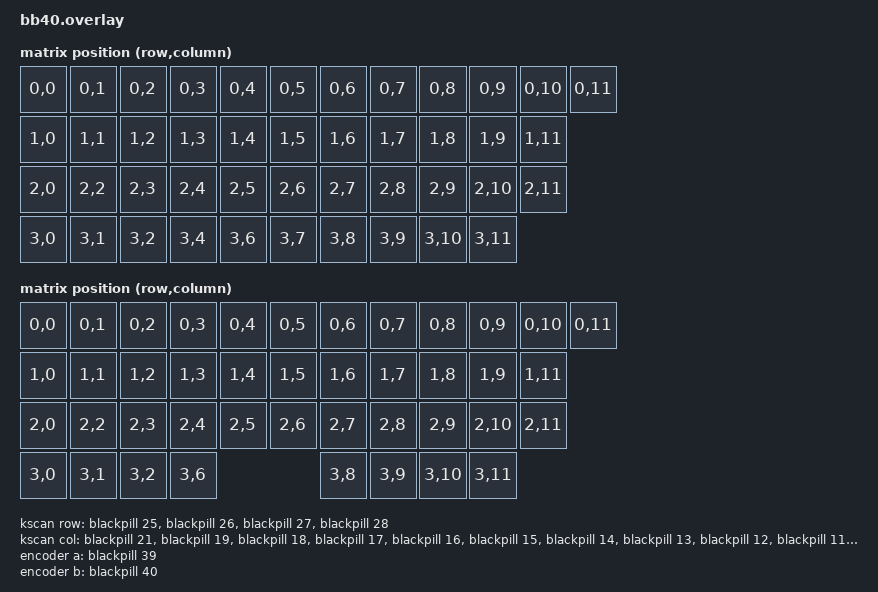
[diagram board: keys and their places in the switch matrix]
/*
 * Copyright (c) 2023 The ZMK Contributors
 *
 * SPDX-License-Identifier: MIT
 */

#include <dt-bindings/zmk/matrix_transform.h>

/ {
    chosen {
        zmk,kscan = &kscan;
        zmk,matrix-transform = &split_space_transform;
        /* WIP */
        zmk,backlight = &indicator_leds;
    };

    kscan: kscan {
        compatible = "zmk,kscan-gpio-matrix";
        diode-direction = "col2row";
        col-gpios
            = <&blackpill 21 GPIO_ACTIVE_HIGH>
            , <&blackpill 19 GPIO_ACTIVE_HIGH>
            , <&blackpill 18 GPIO_ACTIVE_HIGH>
            , <&blackpill 17 GPIO_ACTIVE_HIGH>
            , <&blackpill 16 GPIO_ACTIVE_HIGH>
            , <&blackpill 15 GPIO_ACTIVE_HIGH>
            , <&blackpill 14 GPIO_ACTIVE_HIGH>
            , <&blackpill 13 GPIO_ACTIVE_HIGH>
            , <&blackpill 12 GPIO_ACTIVE_HIGH>
            , <&blackpill 11 GPIO_ACTIVE_HIGH>
            , <&blackpill 10 GPIO_ACTIVE_HIGH>
            , <&blackpill 4  GPIO_ACTIVE_HIGH>
            ;
        row-gpios
            = <&blackpill 25 (GPIO_ACTIVE_HIGH | GPIO_PULL_DOWN)>
            , <&blackpill 26 (GPIO_ACTIVE_HIGH | GPIO_PULL_DOWN)>
            , <&blackpill 27 (GPIO_ACTIVE_HIGH | GPIO_PULL_DOWN)>
            , <&blackpill 28 (GPIO_ACTIVE_HIGH | GPIO_PULL_DOWN)>
            ;
    };

    split_space_transform: keymap_transform_0 {
        compatible = "zmk,matrix-transform";
        columns = <12>;
        rows = <4>;
        map = <
          RC(0,0) RC(0,1) RC(0,2) RC(0,3) RC(0,4) RC(0,5) RC(0,6) RC(0,7) RC(0,8) RC(0,9)  RC(0,10) RC(0,11)
          RC(1,0) RC(1,1) RC(1,2) RC(1,3) RC(1,4) RC(1,5) RC(1,6) RC(1,7) RC(1,8) RC(1,9)  RC(1,11)
          RC(2,0) RC(2,2) RC(2,3) RC(2,4) RC(2,5) RC(2,6) RC(2,7) RC(2,8) RC(2,9) RC(2,10) RC(2,11)
          RC(3,0) RC(3,1) RC(3,2)  RC(3,4)  RC(3,6) RC(3,7) RC(3,8) RC(3,9) RC(3,10) RC(3,11)
        >;
    };

    full_space_transform: keymap_transform_1 {
        compatible = "zmk,matrix-transform";
        columns = <12>;
        rows = <4>;
        map = <
          RC(0,0) RC(0,1) RC(0,2) RC(0,3) RC(0,4) RC(0,5) RC(0,6) RC(0,7) RC(0,8) RC(0,9)  RC(0,10) RC(0,11)
          RC(1,0) RC(1,1) RC(1,2) RC(1,3) RC(1,4) RC(1,5) RC(1,6) RC(1,7) RC(1,8) RC(1,9)  RC(1,11)
          RC(2,0) RC(2,2) RC(2,3) RC(2,4) RC(2,5) RC(2,6) RC(2,7) RC(2,8) RC(2,9) RC(2,10) RC(2,11)
          RC(3,0) RC(3,1) RC(3,2)           RC(3,6)         RC(3,8) RC(3,9) RC(3,10) RC(3,11)
        >;
    };

    encoder: encoder {
        compatible = "alps,ec11";
        a-gpios = <&blackpill 39 (GPIO_ACTIVE_LOW | GPIO_PULL_UP)>;
        b-gpios = <&blackpill 40 (GPIO_ACTIVE_LOW | GPIO_PULL_UP)>;
        steps = <80>;
        status = "disabled";
    };

    sensors: sensors {
        compatible = "zmk,keymap-sensors";
        sensors = <&encoder>;
        triggers-per-rotation = <20>;
    };

    indicator_leds: indicator_leds {
        compatible = "gpio-leds";
        top_led: led_0 {
            gpios = <&blackpill 43 GPIO_ACTIVE_HIGH>;
        };
        middle_led: led_1 {
            gpios = <&blackpill 45 GPIO_ACTIVE_HIGH>;
        };
        bottom_led: led_2 {
            gpios = <&blackpill 46 GPIO_ACTIVE_HIGH>;
        };
    };
};
